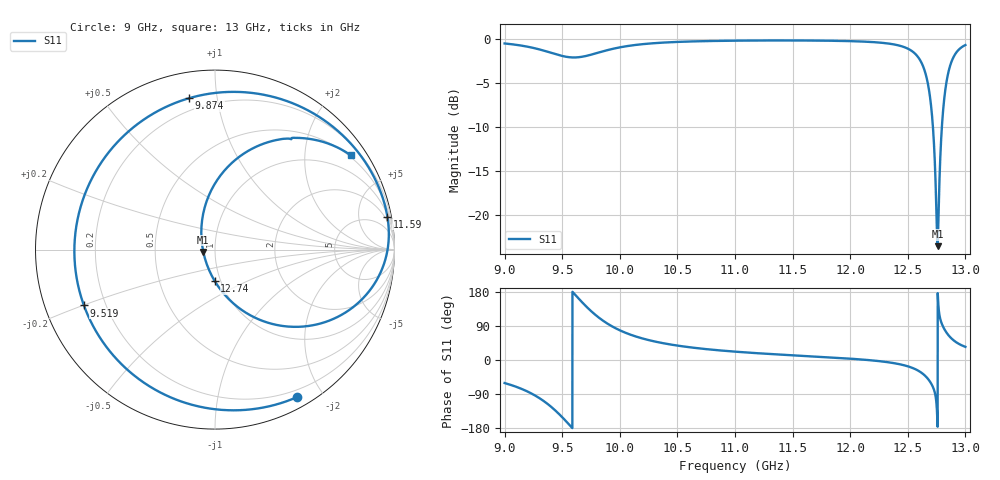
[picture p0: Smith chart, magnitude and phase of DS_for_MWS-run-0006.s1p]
! TOUCHSTONE file generated by CST DESIGN STUDIO
! Date and time: Tue Feb  4 14:32:44 2025
! Project name: C:\Work\MatlabApps\UnitCellOptimizationMatlab\CST\unitcell.cst
! Tree item: Tasks\Sweep1\SPara1\S-Parameters
! Header version: 2024
! Port assignment regex: !\s*Touchstone port\s*([0-9]+)\s*=\s*(CST MWS port|CST DES external port|CST DES block port)\s*(.+)\s* \(\"(.*)\"\)(\s*mode\s*([0-9]+))?.*
! Touchstone port assignment:
! Touchstone port 1 = CST DES external port 1 ("")
# GHz S MA R 50
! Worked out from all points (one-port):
!   4001 points, 9 GHz to 13 GHz, reference 50 ohm
!   lowest |S11| = -23.6 dB at 12.76 GHz (marker M1), VSWR 1.14, Z = 43.9 - j1.17 ohm
!   |S11| at or under -10 dB: 12.72 GHz to 12.8 GHz (77.85 MHz wide, 0.61 % of centre)
!   S11 on the Smith chart (normalised r, x): 9 GHz: 0.12, -1.70; 9.519 GHz: 0.12, -0.20; 9.874 GHz: 0.13, +0.84; 11.59 GHz: 1, +10; 12.74 GHz: 0.94, -0.34; 13 GHz: 0.45, +3.14
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9  0.9405 -60.8
9.15  0.9138 -76.5
9.301  0.8706 -100.4
9.403  0.8326 -123.3
9.5  0.7988 -150.9
9.519  0.7938 -156.9
9.59  0.7835 179.6
9.662  0.7886 155.8
9.767  0.8179 124.6
9.874  0.8559 99.7
10  0.8939 78.4
10.218  0.9348 55.1
10.5  0.9598 38.0
11  0.9755 22.0
11.5  0.9782 12.4
11.593  0.9777 10.8
12  0.9697 3.5
12.5  0.8792 -16.6
12.595  0.7777 -28.9
12.669  0.5786 -47.6
12.711  0.3621 -66.7
12.738  0.1755 -90.4
12.758  0.0664 -168.5
12.77  0.1209 129.2
12.803  0.3674 90.1
12.839  0.5843 71.1
12.917  0.8285 47.5
13  0.9215 34.7
